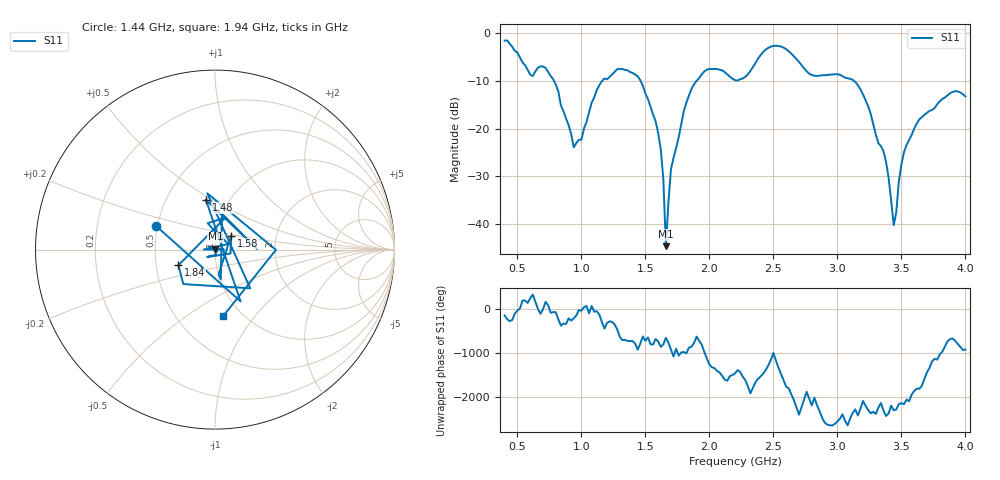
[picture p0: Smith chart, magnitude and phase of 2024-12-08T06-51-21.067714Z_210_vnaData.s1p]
!Created with skrf (http://scikit-rf.org).
# Hz S RI R 50.0
!freq ReS11 ImS11
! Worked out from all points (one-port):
!   181 points, 400 MHz to 4 GHz, reference 50 ohm
!   lowest |S11| = -44.7 dB at 1.66 GHz (marker M1), VSWR 1.01, Z = 50.2 + j0.546 ohm
!   |S11| at or under -10 dB: 786.2 MHz to 1.161 GHz (375 MHz wide, 38.5 % of centre); 1.463 GHz to 1.9 GHz (437 MHz wide, 26 % of centre); 3.131 GHz to end of sweep
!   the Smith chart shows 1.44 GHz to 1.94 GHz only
!   S11 on the Smith chart (normalised r, x): 1.44 GHz: 0.49, +0.15; 1.48 GHz: 0.78, +0.47; 1.58 GHz: 1.18, +0.19; 1.84 GHz: 0.65, -0.12; 1.94 GHz: 0.83, -0.71
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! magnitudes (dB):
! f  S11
! 400 MHz  -1.5
! 600 MHz  -8.7
! 720 MHz  -7.2
! 860 MHz  -16.4
! 940 MHz  -24.0
! 1.14 GHz  -10.9
! 1.3 GHz  -7.5
! 1.44 GHz  -9.0
! 1.48 GHz  -11.0
! 1.58 GHz  -18.5
! 1.64 GHz  -30.6
! 1.66 GHz  -44.7
! 1.7 GHz  -28.5
! 1.76 GHz  -21.8
! 1.84 GHz  -13.1
! 1.94 GHz  -8.6
! 2.2 GHz  -9.8
! 2.48 GHz  -2.8
! 2.66 GHz  -4.8
! 2.8 GHz  -8.7
! 3.1 GHz  -9.5
! 3.2 GHz  -12.8
! 3.36 GHz  -24.8
! 3.44 GHz  -40.3
! 3.5 GHz  -27.5
! 3.56 GHz  -22.4
! 3.82 GHz  -13.8
! 4 GHz  -13.2
